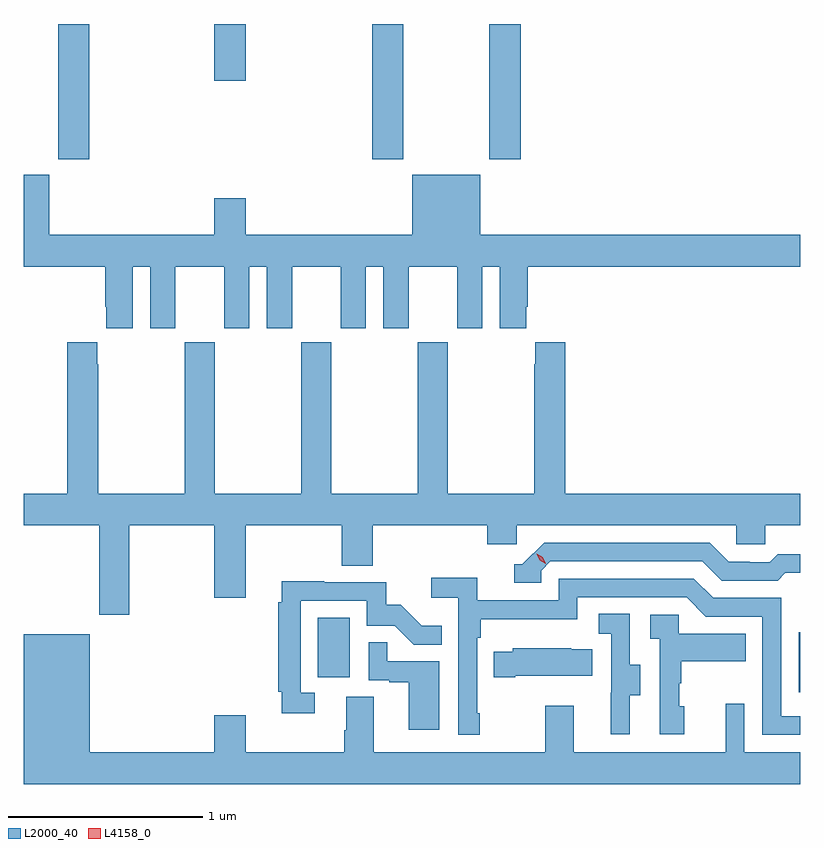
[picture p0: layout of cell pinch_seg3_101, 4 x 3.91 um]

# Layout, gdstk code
import gdstk
lib = gdstk.Library(unit=1e-6, precision=1e-09)
def R(c, l, rs):  # rectangles x0, y0, x1, y1
    for r in rs: c.add(gdstk.rectangle(r[:2], r[2:], *l))
def P(c, l, *ps):  # polygons
    for p in ps: c.add(gdstk.Polygon(p, *l))
L2000_40 = (2000, 40)
L4158_0 = (4158, 0)

pinch_seg3_101 = lib.new_cell('pinch_seg3_101')
R(pinch_seg3_101, L2000_40, [(1043.142,724.032,1043.151,724.342), (1040.666,724.11,1040.83,724.417), (1039.33,726.777,1039.49,727.474), (1040.945,726.777,1041.105,727.474), (1041.55,726.777,1041.71,727.474), (1040.132,727.182,1040.296,727.474)])
P(pinch_seg3_101, L2000_40, [(1041.502,726.697),(1041.152,726.697),(1041.152,726.388),(1040.296,726.388),(1040.296,726.577),(1040.132,726.577),(1040.132,726.388),(1039.282,726.388),(1039.282,726.697),(1039.151,726.697),(1039.151,726.224),(1039.571,726.224),(1039.571,726.019),(1039.577,726.019),(1039.577,725.907),(1039.714,725.907),(1039.714,726.224),(1039.802,726.224),(1039.802,725.907),(1039.933,725.907),(1039.933,726.224),(1040.183,726.224),(1040.183,725.907),(1040.314,725.907),(1040.314,726.224),(1040.402,726.224),(1040.402,725.907),(1040.533,725.907),(1040.533,726.224),(1040.783,726.224),(1040.783,725.907),(1040.914,725.907),(1040.914,726.224),(1041.002,726.224),(1041.002,725.907),(1041.133,725.907),(1041.133,726.224),(1041.383,726.224),(1041.383,725.907),(1041.514,725.907),(1041.514,726.224),(1041.602,726.224),(1041.602,725.907),(1041.739,725.907),(1041.739,726.019),(1041.746,726.019),(1041.746,726.224),(1043.151,726.224),(1043.151,726.388),(1041.502,726.388)],
  [(1039.695,724.892),(1040.132,724.892),(1040.132,724.518),(1040.296,724.518),(1040.296,724.892),(1040.788,724.892),(1040.788,724.684),(1040.948,724.684),(1040.948,724.892),(1041.539,724.892),(1041.539,724.794),(1041.69,724.794),(1041.69,724.892),(1042.821,724.892),(1042.821,724.794),(1042.971,724.794),(1042.971,724.892),(1043.151,724.892),(1043.151,725.056),(1041.941,725.056),(1041.941,725.836),(1041.785,725.836),(1041.785,725.723),(1041.781,725.723),(1041.781,725.056),(1041.336,725.056),(1041.336,725.836),(1041.18,725.836),(1041.18,725.056),(1040.736,725.056),(1040.736,725.836),(1040.581,725.836),(1040.581,725.056),(1040.136,725.056),(1040.136,725.836),(1039.981,725.836),(1039.981,725.056),(1039.536,725.056),(1039.536,725.723),(1039.531,725.723),(1039.531,725.836),(1039.376,725.836),(1039.376,725.056),(1039.151,725.056),(1039.151,724.892),(1039.54,724.892),(1039.54,724.431),(1039.695,724.431)],
  [(1041.816,724.659),(1041.864,724.707),(1042.647,724.707),(1042.746,724.608),(1043.035,724.608),(1043.074,724.647),(1043.151,724.647),(1043.151,724.744),(1043.035,724.744),(1042.993,724.701),(1042.89,724.701),(1042.89,724.704),(1042.783,724.704),(1042.684,724.803),(1041.831,724.803),(1041.72,724.692),(1041.677,724.692),(1041.677,724.596),(1041.816,724.596)],
  [(1041.499,723.925),(1041.486,723.925),(1041.486,724.313),(1041.506,724.313),(1041.506,724.409),(1042.002,724.409),(1042.002,724.521),(1042.566,724.521),(1042.665,724.422),(1042.956,724.422),(1042.956,723.813),(1043.151,723.813),(1043.151,723.909),(1043.052,723.909),(1043.052,724.518),(1042.702,724.518),(1042.603,724.617),(1041.906,724.617),(1041.906,724.506),(1041.488,724.506),(1041.488,724.622),(1041.249,724.622),(1041.249,724.52),(1041.39,724.52),(1041.39,723.813),(1041.499,723.813)],
  [(1040.65,724.029),(1040.577,724.029),(1040.577,724.503),(1040.919,724.503),(1040.919,724.374),(1041.063,724.374),(1041.161,724.276),(1041.305,724.276),(1041.305,724.375),(1041.201,724.375),(1041.094,724.482),(1041.018,724.482),(1041.018,724.599),(1040.699,724.599),(1040.699,724.604),(1040.48,724.604),(1040.48,724.496),(1040.461,724.496),(1040.461,724.036),(1040.48,724.036),(1040.48,723.924),(1040.65,723.924)],
  [(1042.273,724.018),(1042.327,724.018),(1042.327,724.173),(1042.272,724.173),(1042.272,724.436),(1042.113,724.436),(1042.113,724.333),(1042.176,724.333),(1042.176,724.029),(1042.175,724.029),(1042.175,723.816),(1042.273,723.816)],
  [(1042.552,723.96),(1042.527,723.96),(1042.527,724.079),(1042.537,724.079),(1042.537,724.193),(1042.871,724.193),(1042.871,724.333),(1042.524,724.333),(1042.524,724.431),(1042.377,724.431),(1042.377,724.307),(1042.428,724.307),(1042.428,723.816),(1042.552,723.816)],
  [(1043.151,723.724),(1042.863,723.724),(1042.863,723.973),(1042.766,723.973),(1042.766,723.724),(1041.985,723.724),(1041.985,723.964),(1041.838,723.964),(1041.838,723.724),(1040.953,723.724),(1040.953,724.01),(1040.813,724.01),(1040.813,723.836),(1040.801,723.836),(1040.801,723.724),(1040.296,723.724),(1040.296,723.913),(1040.132,723.913),(1040.132,723.724),(1039.492,723.724),(1039.492,724.33),(1039.151,724.33),(1039.151,723.56),(1043.151,723.56)],
  [(1041.292,724.191),(1041.023,724.191),(1041.023,724.289),(1040.928,724.289),(1040.928,724.095),(1041.035,724.095),(1041.035,724.083),(1041.134,724.083),(1041.134,723.84),(1041.292,723.84)],
  [(1041.682,724.118),(1042.079,724.118),(1042.079,724.255),(1041.971,724.255),(1041.971,724.258),(1041.669,724.258),(1041.669,724.24),(1041.571,724.24),(1041.571,724.111),(1041.682,724.111)])
P(pinch_seg3_101, L4158_0, [(1041.84,724.694),(1041.81,724.713),(1041.794,724.746),(1041.794,724.746),(1041.794,724.746),(1041.825,724.727),(1041.841,724.694),(1041.841,724.694)])

lib.write_gds('pinch_seg3_101.gds')
